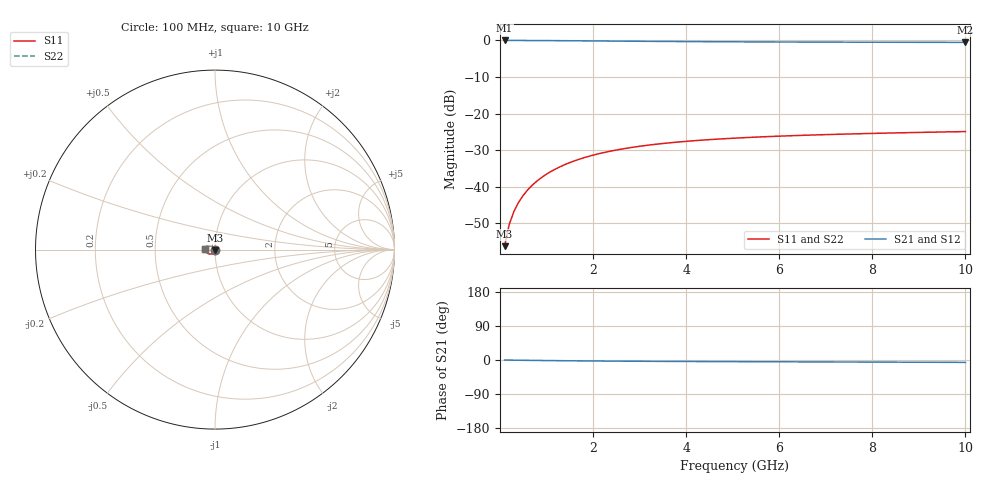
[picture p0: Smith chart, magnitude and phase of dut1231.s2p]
! Touchstone file exported from HFSS 2024.1.0
!  File:  C:/UserFiles/LocalFiles/RDL_TSV_Batchsim/temp_TSV1_1231_1780250473.aedt
!  Generated:  02:07:28 AM Jun  1, 2026
!  Design:  TSV1
!  Project:  temp_TSV1_1231_1780250473
!  Setup:  Setup1
!  Solution:  Sweep
! Variables:
!  dtsv = 10.23um
!  hbump = 3um
!  htsv = 99.9um
!  lrdl = 252.1521522um
!  p = 40
!  p1 = 51.07um
!  t = 500um
!  trdl = 3um
!  wrdl = 24.89489489um
# GHz S MA R 50.000000
! Terminal data exported
! Port[1] = TSV22_T1
! Port[2] = TSV22_T2
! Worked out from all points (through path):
!   100 points, 100 MHz to 10 GHz, reference 50 ohm
!   highest |S21| = 0.00 dB at 100 MHz (marker M1); lowest = -0.5 dB at 10 GHz (marker M2)
!   lowest |S11| = -56.3 dB at 100 MHz (marker M3), VSWR 1.00, Z = 50 - j0.153 ohm
!   |S11| at or under -10 dB: start of sweep to end of sweep
!   |S22| runs from -56.3 to -24.9 dB; largest |S21 - S12| = 6e-15
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0.1  0.001533 -85.8  0.9998 -0.2  0.9998 -0.2  0.001533 -85.8
! Gamma 0 0 0 0
! Port Impedance 50 0 50 0
0.2  0.003053 -90.5  0.9996 -0.3  0.9996 -0.3  0.003053 -90.5
0.3  0.004573 -93.2  0.9994 -0.5  0.9994 -0.5  0.004573 -93.2
0.4  0.006088 -95.5  0.999 -0.6  0.999 -0.6  0.006088 -95.5
0.5  0.007592 -97.6  0.9986 -0.8  0.9986 -0.8  0.007592 -97.6
0.6  0.009082 -99.5  0.9981 -0.9  0.9981 -0.9  0.009082 -99.5
0.7  0.01055 -101.5  0.9975 -1.0  0.9975 -1.0  0.01055 -101.5
0.8  0.012 -103.3  0.9968 -1.2  0.9968 -1.2  0.012 -103.3
0.9  0.01342 -105.2  0.996 -1.3  0.996 -1.3  0.01342 -105.2
1.1  0.01618 -108.7  0.9944 -1.6  0.9944 -1.6  0.01618 -108.7
1.4  0.02008 -113.8  0.9915 -1.9  0.9915 -1.9  0.02008 -113.8
1.6  0.02251 -117.0  0.9894 -2.2  0.9894 -2.2  0.02251 -117.0
1.8  0.02479 -120.1  0.9873 -2.4  0.9873 -2.4  0.02479 -120.1
2.1  0.02795 -124.5  0.984 -2.7  0.984 -2.7  0.02795 -124.5
2.5  0.03167 -129.9  0.9795 -3.0  0.9795 -3.0  0.03167 -129.9
2.9  0.0349 -134.8  0.9753 -3.3  0.9753 -3.3  0.03489 -134.8
3.4  0.0383 -140.4  0.9704 -3.6  0.9704 -3.6  0.0383 -140.4
4.2  0.04262 -148.1  0.9637 -4.0  0.9637 -4.0  0.04262 -148.1
5.1  0.04626 -155.5  0.9576 -4.4  0.9576 -4.4  0.04626 -155.5
6.7  0.05081 -166.0  0.9499 -5.0  0.9499 -5.0  0.05081 -166.0
8.4  0.05418 -174.9  0.9446 -5.7  0.9446 -5.7  0.05418 -174.9
10  0.05666 178.1  0.9411 -6.3  0.9411 -6.3  0.05666 178.1
